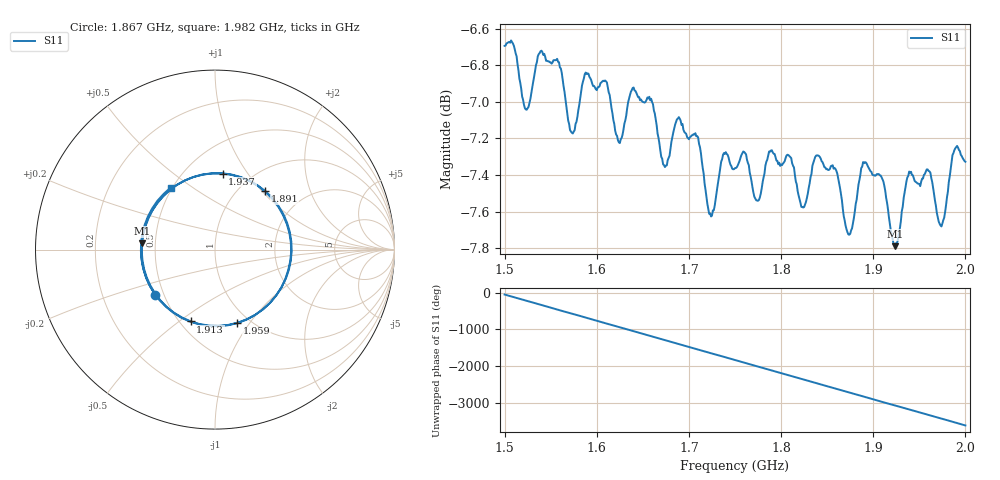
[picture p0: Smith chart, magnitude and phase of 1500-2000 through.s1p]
! NanoVNA-App by SYSJOINT et al v1.1.209 (+OD18)
! Date: 2025-09-17 10:25:24
! Start: 1.5GHz Stop: 2GHz Points: 501
! S-Parameter data: F S11
# Hz S RI R 50
!  Frequency  S11_Real  S11_Imag
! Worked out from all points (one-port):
!   501 points, 1.5 GHz to 2 GHz, reference 50 ohm
!   lowest |S11| = -7.8 dB at 1.924 GHz (marker M1), VSWR 2.38, Z = 21.1 + j1.81 ohm
!   |S11| at or under -10 dB: nowhere
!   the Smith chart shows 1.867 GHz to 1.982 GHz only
!   S11 on the Smith chart (normalised r, x): 1.867 GHz: 0.45, -0.27; 1.891 GHz: 1.31, +1.05; 1.913 GHz: 0.57, -0.55; 1.937 GHz: 0.75, +0.77; 1.959 GHz: 0.87, -0.88; 1.982 GHz: 0.49, +0.41
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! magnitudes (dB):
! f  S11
! 1.5 GHz  -6.7
! 1.523 GHz  -7.0
! 1.539 GHz  -6.7
! 1.563 GHz  -6.9
! 1.574 GHz  -7.2
! 1.588 GHz  -6.8
! 1.609 GHz  -6.9
! 1.625 GHz  -7.2
! 1.639 GHz  -6.9
! 1.674 GHz  -7.4
! 1.688 GHz  -7.1
! 1.709 GHz  -7.2
! 1.723 GHz  -7.6
! 1.738 GHz  -7.3
! 1.75 GHz  -7.4
! 1.813 GHz  -7.3
! 1.857 GHz  -7.4
! 1.867 GHz  -7.6
! 1.875 GHz  -7.7
! 1.891 GHz  -7.3
! 1.913 GHz  -7.5
! 1.924 GHz  -7.8
! 1.937 GHz  -7.4
! 1.938 GHz  -7.4
! 1.959 GHz  -7.4
! 1.973 GHz  -7.7
! 1.982 GHz  -7.4
! 2 GHz  -7.3
